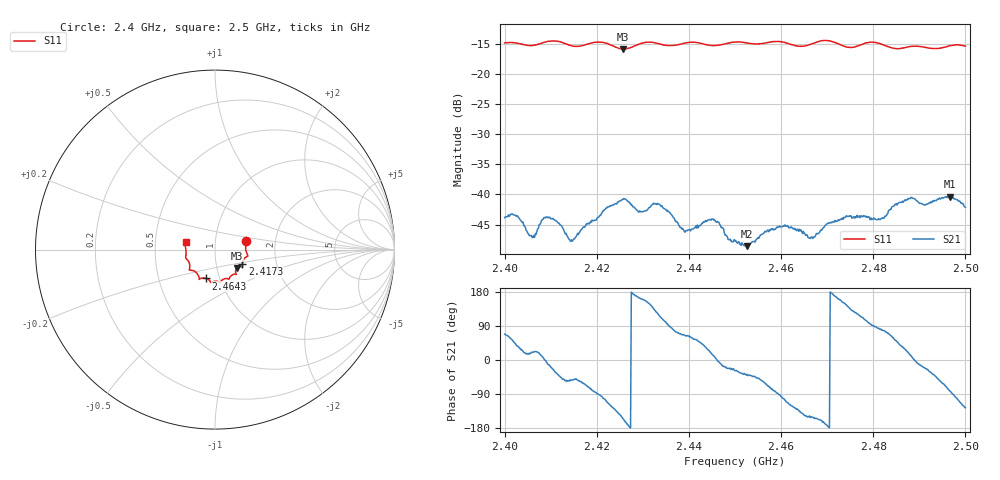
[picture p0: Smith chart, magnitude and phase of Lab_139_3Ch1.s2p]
# Hz S RI R 50
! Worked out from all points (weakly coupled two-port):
!   601 points, 2.4 GHz to 2.5 GHz, reference 50 ohm
!   highest |S21| = -40.33 dB at 2.4967 GHz (marker M1); lowest = -48.6 dB at 2.4527 GHz (marker M2)
!   lowest |S11| = -15.9 dB at 2.4257 GHz (marker M3), VSWR 1.38, Z = 62.5 - j13.2 ohm
!   |S11| at or under -10 dB: start of sweep to end of sweep
!   S12 and S22 are empty: the file has one direction only
!   S11 on the Smith chart (normalised r, x): 2.4 GHz: 1.41, +0.14; 2.4173 GHz: 1.34, -0.23; 2.4643 GHz: 0.86, -0.29; 2.5 GHz: 0.72, +0.06
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2.4e9  0.1731 0.0488  0.00235 0.00597  0 0  0 0
2.402667e9  0.1752 0.0368  0.00533 0.00405  0 0  0 0
2.406e9  0.1712 0.00166  0.00409 0.00159  0 0  0 0
2.409e9  0.1814 -0.029  0.00651 -0.000363  0 0  0 0
2.414333e9  0.1638 -0.0495  0.00239 -0.00333  0 0  0 0
2.416667e9  0.1529 -0.0742  0.00278 -0.0043  0 0  0 0
2.417333e9  0.1522 -0.0817  0.00244 -0.00477  0 0  0 0
2.425667e9  0.1228 -0.1026  -0.00818 -0.00397  0 0  0 0
2.4295e9  0.1162 -0.1343  -0.00684 0.00225  0 0  0 0
2.433333e9  0.1129 -0.1372  -0.00428 0.00721  0 0  0 0
2.439e9  0.0803 -0.1596  0.00204 0.00452  0 0  0 0
2.445167e9  0.0542 -0.1621  0.00604 0.00146  0 0  0 0
2.45e9  0.0286 -0.1809  0.00363 -0.00197  0 0  0 0
2.452667e9  0.0192 -0.1785  0.00295 -0.00229  0 0  0 0
2.4595e9  -0.0231 -0.1835  -9.67e-05 -0.00537  0 0  0 0
2.464333e9  -0.0498 -0.1609  -0.00383 -0.00333  0 0  0 0
2.466667e9  -0.076 -0.1593  -0.00386 -0.0022  0 0  0 0
2.474167e9  -0.0986 -0.1342  -0.00549 0.00379  0 0  0 0
2.483333e9  -0.1406 -0.0899  0.00248 0.00696  0 0  0 0
2.488e9  -0.1603 -0.0503  0.00902 0.0021  0 0  0 0
2.496667e9  -0.1687 0.025  0.00127 -0.00954  0 0  0 0
2.5e9  -0.1636 0.0426  -0.00458 -0.00633  0 0  0 0
